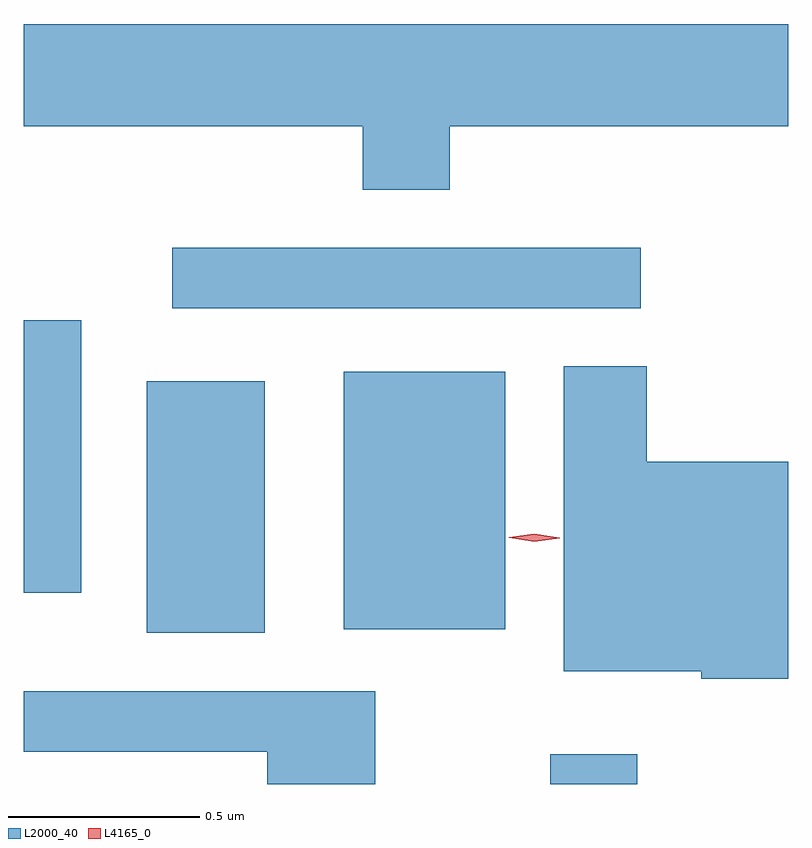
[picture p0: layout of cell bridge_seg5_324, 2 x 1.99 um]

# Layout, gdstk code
import gdstk
lib = gdstk.Library(unit=1e-6, precision=1e-09)
def R(c, l, rs):  # rectangles x0, y0, x1, y1
    for r in rs: c.add(gdstk.rectangle(r[:2], r[2:], *l))
def P(c, l, *ps):  # polygons
    for p in ps: c.add(gdstk.Polygon(p, *l))
L2000_40 = (2000, 40)
L4165_0 = (4165, 0)

bridge_seg5_324 = lib.new_cell('bridge_seg5_324')
R(bridge_seg5_324, L2000_40, [(702.901,1461.736,703.129,1461.814), (701.846,1462.131,702.154,1462.789), (702.361,1462.141,702.784,1462.814), (701.524,1462.236,701.674,1462.949), (701.913,1462.981,703.138,1463.139)])
P(bridge_seg5_324, L2000_40, [(702.639,1463.456),(703.524,1463.456),(703.524,1463.724),(701.524,1463.724),(701.524,1463.456),(702.411,1463.456),(702.411,1463.291),(702.639,1463.291)],
  [(703.524,1462.579),(703.154,1462.579),(703.154,1462.829),(702.936,1462.829),(702.936,1462.031),(703.296,1462.031),(703.296,1462.011),(703.524,1462.011)],
  [(702.444,1461.979),(701.524,1461.979),(701.524,1461.821),(702.161,1461.821),(702.161,1461.736),(702.444,1461.736)])
P(bridge_seg5_324, L4165_0, [(702.86,1462.37),(702.794,1462.38),(702.793,1462.381),(702.794,1462.381),(702.86,1462.39),(702.926,1462.38),(702.926,1462.379),(702.926,1462.379)])

lib.write_gds('bridge_seg5_324.gds')
